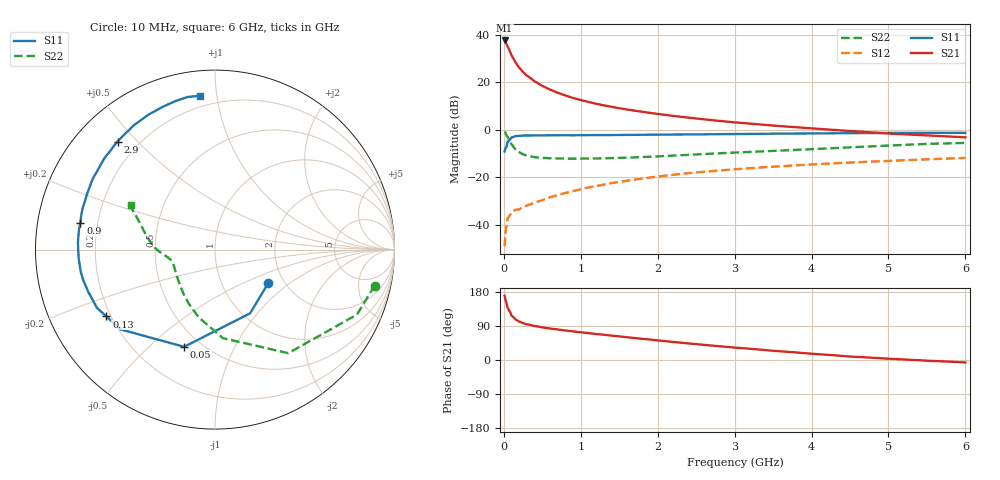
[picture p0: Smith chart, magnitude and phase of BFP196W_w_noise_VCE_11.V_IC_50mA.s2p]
! Infineon Technologies  Discrete & RF Semiconductors
! BFP196W
! VCE =  11. V,  IC =  50 mA
! Common Emitter S-Parameters:  Jan 2017
# GHz  S  MA  R  50
!  f  S11  S21  S12  S22
! GHz  MAG  ANG  MAG  ANG  MAG  ANG  MAG  ANG
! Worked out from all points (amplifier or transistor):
!   77 points, 10 MHz to 6 GHz, reference 50 ohm
!   highest |S21| = 37.7 dB at 10 MHz (marker M1)
!   |S21| within 3 dB of that: start of sweep to 56.63 MHz
!   unconditionally stable (mu >= 1): 726.5 MHz to 3.254 GHz
!   at 130 MHz: K = 0.39, MSG = 32.0 dB, |S12| = -34.2 dB
!   at 2.2 GHz: K = 1.04, MAG = 11.2 dB, |S12| = -19.0 dB
!   at 6 GHz: K = 0.92, MSG = 4.3 dB, |S12| = -11.9 dB
!   lowest NFmin = 1.36 dB at 450 MHz
!   S11 on the Smith chart (normalised r, x): 10 MHz: 1.65, -0.71; 50 MHz: 0.41, -0.65; 130 MHz: 0.18, -0.27; 900 MHz: 0.13, +0.10; 2.9 GHz: 0.13, +0.44; 6 GHz: 0.14, +0.90
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0.01  0.3503 -32.3  76.69 169.7  0.0035 70.0  0.9115 -12.7
0.02  0.4054 -61.2  72.7 159.5  0.0063 71.6  0.8699 -24.6
0.05  0.568 -107.6  57.24 136.9  0.0134 51.9  0.7068 -54.7
0.1  0.6892 -139.8  37.23 117.0  0.0178 41.5  0.4954 -84.9
0.13  0.7107 -148.4  30.76 112.0  0.0194 40.2  0.4255 -95.0
0.15  0.7334 -153.7  26.63 107.3  0.0205 39.4  0.3883 -103.5
0.2  0.7441 -161.5  20.46 101.3  0.0209 41.5  0.3358 -115.6
0.25  0.7538 -167.0  16.56 97.2  0.0237 42.8  0.3037 -124.9
0.3  0.758 -170.6  13.88 94.3  0.0252 44.5  0.2851 -131.7
0.4  0.7609 -176.1  10.52 89.6  0.0289 49.3  0.2645 -141.3
0.5  0.7622 180.0  8.432 86.2  0.0327 52.7  0.2555 -147.6
0.6  0.7648 176.8  7.053 83.1  0.0377 55.1  0.2507 -152.0
0.7  0.7648 174.1  6.042 80.6  0.0416 57.5  0.2475 -155.3
0.9  0.7641 168.9  4.698 75.5  0.0507 59.2  0.2463 -159.7
1.1  0.7704 164.7  3.867 71.0  0.0605 60.7  0.2472 -162.7
1.5  0.7768 156.8  2.849 62.3  0.0792 60.8  0.2552 -167.6
2.1  0.79 145.3  2.061 49.8  0.1076 57.4  0.2799 -173.2
2.9  0.8104 132.0  1.487 34.6  0.1424 51.4  0.3247 179.8
3.1  0.8148 129.0  1.391 31.3  0.1505 49.7  0.336 177.9
4.1  0.8397 114.8  1.044 15.2  0.189 41.6  0.3967 167.4
5.1  0.8577 103.9  0.819 2.4  0.2238 33.9  0.4721 157.5
6  0.8616 95.5  0.693 -6.5  0.2548 27.0  0.5288 152.3
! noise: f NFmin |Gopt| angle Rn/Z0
0.45  1.36  0.51  -177  0.05
0.9  1.48  0.55  -171  0.07
1.9  2.3  0.69  -149  0.16
2.4  2.7  0.73  -144  0.26
